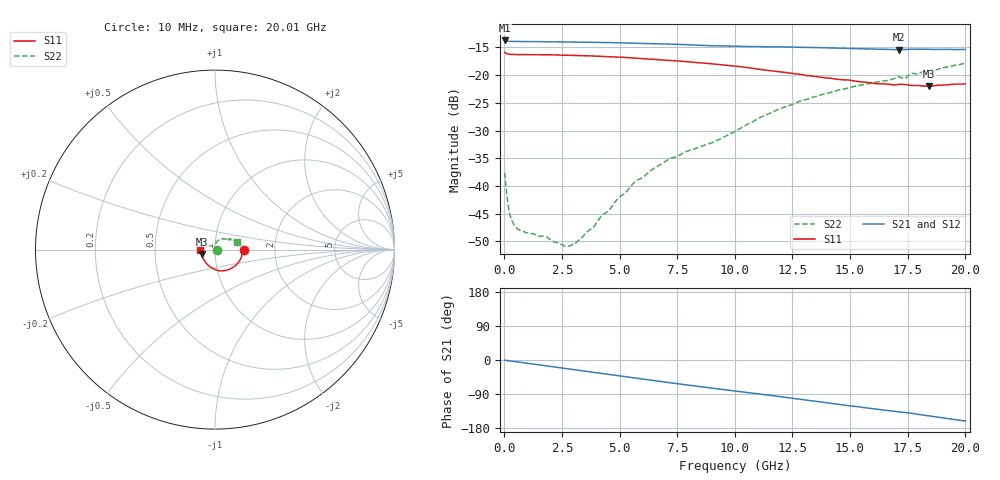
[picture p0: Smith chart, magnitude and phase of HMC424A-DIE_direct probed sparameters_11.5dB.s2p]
!s2p File: Measurements: S11, S21, S12, S22
# GHz S dB R 50.0
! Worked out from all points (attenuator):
!   201 points, 10 MHz to 20.01 GHz, reference 50 ohm
!   highest |S21| = -13.74 dB at 10 MHz (marker M1); lowest = -15.4 dB at 17.11 GHz (marker M2)
!   lowest |S11| = -22.0 dB at 18.41 GHz (marker M3), VSWR 1.17, Z = 43 - j2.33 ohm
!   |S11| at or under -10 dB: start of sweep to end of sweep
!   |S22| runs from -50.9 to -17.8 dB; largest |S21 - S12| = 0.0014
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0.01  -15.87 -0.8  -13.74 -0.3  -13.74 -0.3  -37.57 -7.4
0.11  -16.15 -1.8  -13.86 -1.5  -13.86 -1.5  -41.80 -30.0
0.21  -16.23 -2.3  -13.90 -2.2  -13.90 -2.2  -44.70 -29.1
0.31  -16.25 -2.8  -13.91 -2.9  -13.91 -2.9  -46.12 -23.6
0.41  -16.27 -3.4  -13.92 -3.7  -13.92 -3.7  -46.93 -18.8
0.61  -16.28 -4.6  -13.93 -5.4  -13.93 -5.3  -47.85 -11.4
1.81  -16.31 -13.1  -13.97 -15.4  -13.97 -15.4  -49.13 13.2
2.61  -16.37 -19.0  -14.01 -22.1  -14.01 -22.0  -50.83 34.0
2.91  -16.40 -21.1  -14.03 -24.5  -14.02 -24.5  -50.70 48.7
3.41  -16.48 -24.8  -14.05 -28.7  -14.05 -28.7  -49.14 68.5
5.61  -16.90 -41.4  -14.21 -47.0  -14.22 -47.0  -39.47 97.3
6.71  -17.23 -50.0  -14.33 -56.1  -14.34 -56.1  -36.30 92.8
7.21  -17.36 -53.9  -14.39 -60.1  -14.40 -60.2  -34.99 90.4
10.01  -18.36 -77.8  -14.79 -81.7  -14.80 -81.7  -30.15 84.8
11.91  -19.39 -94.8  -14.90 -96.3  -14.90 -96.2  -26.11 74.3
13.41  -20.19 -108.5  -15.01 -108.1  -15.03 -108.0  -23.95 62.5
16.71  -21.65 -142.3  -15.36 -133.8  -15.33 -133.8  -20.93 40.0
17.11  -21.69 -145.8  -15.42 -136.7  -15.35 -136.7  -20.28 36.9
17.41  -21.71 -149.5  -15.36 -138.7  -15.37 -139.0  -20.59 37.1
17.61  -21.85 -151.5  -15.33 -140.2  -15.36 -140.6  -19.79 36.4
18.41  -21.99 -160.2  -15.34 -147.2  -15.35 -147.1  -19.12 29.2
20.01  -21.53 -178.4  -15.39 -161.1  -15.37 -161.0  -17.81 20.2
